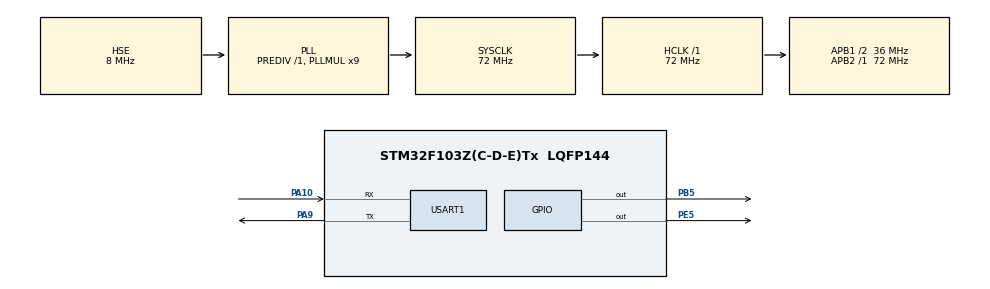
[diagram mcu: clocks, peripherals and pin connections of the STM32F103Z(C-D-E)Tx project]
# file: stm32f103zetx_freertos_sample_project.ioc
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Mcu.Family=STM32F1
Mcu.Name=STM32F103Z(C-D-E)Tx
Mcu.Package=LQFP144
NVIC.PriorityGroup=NVIC_PRIORITYGROUP_4
NVIC.TIM4_IRQn=true\:15\:0\:false\:false\:true\:false\:true\:true
NVIC.TimeBase=TIM4_IRQn
NVIC.TimeBaseIP=TIM4
OSC_IN.Mode=HSE-External-Oscillator
OSC_IN.Signal=RCC_OSC_IN
OSC_OUT.Mode=HSE-External-Oscillator
OSC_OUT.Signal=RCC_OSC_OUT
PA10.Mode=Asynchronous
PA10.Signal=USART1_RX
PA13.Mode=Serial_Wire
PA13.Signal=SYS_JTMS-SWDIO
PA14.Mode=Serial_Wire
PA14.Signal=SYS_JTCK-SWCLK
PA9.Mode=Asynchronous
PA9.Signal=USART1_TX
PB5.Signal=GPIO_Output
PE5.Signal=GPIO_Output
ProjectManager.HeapSize=0x200
ProjectManager.StackSize=0x400
ProjectManager.TargetToolchain=MDK-ARM V5.32
RCC.AHBFreq_Value=72000000
RCC.APB1CLKDivider=RCC_HCLK_DIV2
RCC.APB1Freq_Value=36000000
RCC.APB1TimFreq_Value=72000000
RCC.APB2Freq_Value=72000000
RCC.APB2TimFreq_Value=72000000
RCC.HCLKFreq_Value=72000000
RCC.PLLMUL=RCC_PLL_MUL9
RCC.PLLSourceVirtual=RCC_PLLSOURCE_HSE
RCC.SYSCLKFreq_VALUE=72000000
RCC.SYSCLKSource=RCC_SYSCLKSOURCE_PLLCLK
RCC.USBFreq_Value=72000000
USART1.VirtualMode=VM_ASYNC
VP_SYS_VS_tim4.Mode=TIM4
board=custom

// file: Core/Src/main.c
/* USER CODE BEGIN Header */
/**
  ******************************************************************************
  * @file           : main.c
  * @brief          : Main program body
  ******************************************************************************
  * @attention
  *
  * Copyright (c) 2023 STMicroelectronics.
  * All rights reserved.
  *
  * This software is licensed under terms that can be found in the LICENSE file
  * in the root directory of this software component.
  * If no LICENSE file comes with this software, it is provided AS-IS.
  *
  ******************************************************************************
  */
/* USER CODE END Header */
#include "main.h"
#include "usart.h"
#include "gpio.h"

/* USER CODE BEGIN Includes */
#include "FreeRTOSConfig.h"
#include "FreeRTOS.h"
#include "task.h"
/* USER CODE END Includes */

void SystemClock_Config(void);

/* USER CODE BEGIN 0 */
//点灯任务：
void LED1Tesk(void *p)
{
    while(1)
    {
        //功能
        HAL_GPIO_WritePin(GPIOB,GPIO_PIN_5,GPIO_PIN_SET);
        vTaskDelay(1000);
        HAL_GPIO_WritePin(GPIOB,GPIO_PIN_5,GPIO_PIN_RESET);
        vTaskDelay(1000);
	}
}

void LED2Tesk(void *p)
{
    while(1)
    {
        //功能
        HAL_GPIO_WritePin(GPIOE,GPIO_PIN_5,GPIO_PIN_SET);
        vTaskDelay(500);
        HAL_GPIO_WritePin(GPIOE,GPIO_PIN_5,GPIO_PIN_RESET);
        vTaskDelay(500);
	}
}
/* USER CODE END 0 */

int main(void)
{

  /* MCU Configuration--------------------------------------------------------*/

  /* Reset of all peripherals, Initializes the Flash interface and the Systick. */
  HAL_Init();

  /* Configure the system clock */
  SystemClock_Config();

  /* Initialize all configured peripherals */
  MX_GPIO_Init();
  MX_USART1_UART_Init();
  /* USER CODE BEGIN 2 */
// xTaskCreate函数参数说明：
// 1、任务入口函数
// 2、任务名称
// 3、堆栈大小，单位word
// 4、传递给任务的参数
// 5、任务优先级
// 6、任务句柄
  xTaskCreate(LED1Tesk,"led1",1024,NULL,2,NULL);
  xTaskCreate(LED2Tesk,"led2",1024,NULL,2,NULL);
  vTaskStartScheduler();
  /* USER CODE END 2 */

  /* Infinite loop */
  while (1)
  {

  }
}

void SystemClock_Config(void)
{
  RCC_OscInitTypeDef RCC_OscInitStruct = {0};
  RCC_ClkInitTypeDef RCC_ClkInitStruct = {0};

  /** Initializes the RCC Oscillators according to the specified parameters
  * in the RCC_OscInitTypeDef structure.
  */
  RCC_OscInitStruct.OscillatorType = RCC_OSCILLATORTYPE_HSE;
  RCC_OscInitStruct.HSEState = RCC_HSE_ON;
  RCC_OscInitStruct.HSEPredivValue = RCC_HSE_PREDIV_DIV1;
  RCC_OscInitStruct.HSIState = RCC_HSI_ON;
  RCC_OscInitStruct.PLL.PLLState = RCC_PLL_ON;
  RCC_OscInitStruct.PLL.PLLSource = RCC_PLLSOURCE_HSE;
  RCC_OscInitStruct.PLL.PLLMUL = RCC_PLL_MUL9;
  if (HAL_RCC_OscConfig(&RCC_OscInitStruct) != HAL_OK)
  {
    Error_Handler();
  }

  /** Initializes the CPU, AHB and APB buses clocks
  */
  RCC_ClkInitStruct.ClockType = RCC_CLOCKTYPE_HCLK|RCC_CLOCKTYPE_SYSCLK
                              |RCC_CLOCKTYPE_PCLK1|RCC_CLOCKTYPE_PCLK2;
  RCC_ClkInitStruct.SYSCLKSource = RCC_SYSCLKSOURCE_PLLCLK;
  RCC_ClkInitStruct.AHBCLKDivider = RCC_SYSCLK_DIV1;
  RCC_ClkInitStruct.APB1CLKDivider = RCC_HCLK_DIV2;
  RCC_ClkInitStruct.APB2CLKDivider = RCC_HCLK_DIV1;

  if (HAL_RCC_ClockConfig(&RCC_ClkInitStruct, FLASH_LATENCY_2) != HAL_OK)
  {
    Error_Handler();
  }
}

void HAL_TIM_PeriodElapsedCallback(TIM_HandleTypeDef *htim)
{
  if (htim->Instance == TIM4) {
    HAL_IncTick();
  }
}

void Error_Handler(void)
{
  __disable_irq();
  while (1)
  {
  }
}
